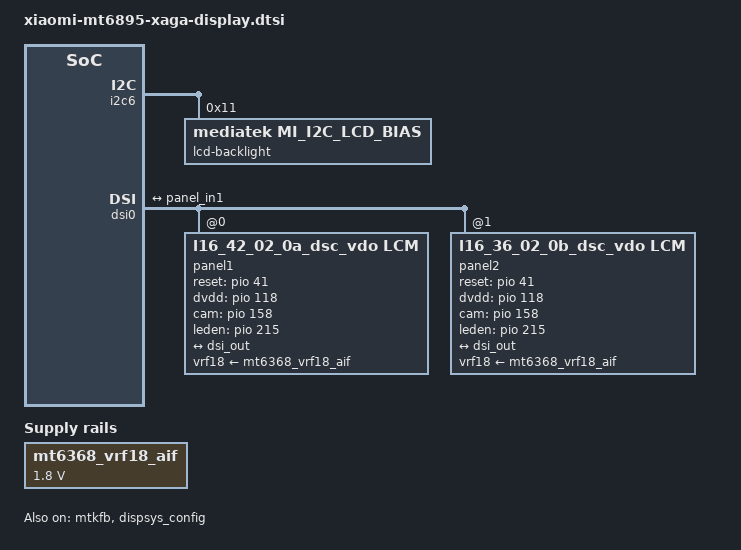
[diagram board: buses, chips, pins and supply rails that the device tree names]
&mtk_leds {
	compatible = "mediatek,disp-leds";

	backlight {
		label = "lcd-backlight";
		led_mode = <4>;
		max-brightness = <4095>;
		max-hw-brightness = <4095>;
		default-state = "half";
	};
};

&i2c6 {
	gate_ic: gate_ic@11 {
		compatible = "mediatek,MI_I2C_LCD_BIAS";
		label = "lcd-backlight";
		pwm_config = <0 1 0 0 0>;
		reg = <0x11>;
		id = <6>;
		status = "okay";
	};
};

&mt6368_vrf18_aif {
	regulator-min-microvolt = <1800000>;
	regulator-max-microvolt = <1800000>;
};

&pio {
	mtkfb_pins_lcm_rst_out1_gpio: lcm_rst_out1_gpio {
		pins_cmd_dat {
			pinmux = <PINMUX_GPIO41__FUNC_GPIO41>;
			slew-rate = <1>;
			output-high;
		};
	};

	mtkfb_pins_lcm_rst_out0_gpio: lcm_rst_out0_gpio {
		pins_cmd_dat {
			pinmux = <PINMUX_GPIO41__FUNC_GPIO41>;
			slew-rate = <1>;
			output-low;
		};
	};
	mtkfb_pins_lcm_dsi_te: lcm_dsi_te {
		pins_cmd_dat {
			pinmux = <PINMUX_GPIO40__FUNC_DSI_TE>;
		};
	};

	mtkfb_pins_lcm_dvdd_en1: lcm_dvdd_en1_gpio {
		pins_cmd_dat {
			pinmux = <PINMUX_GPIO3__FUNC_GPIO3>;
			slew-rate = <1>;
			output-high;
		};
	};

	mtkfb_pins_lcm_dvdd_en0: lcm_dvdd_en0_gpio {
		pins_cmd_dat {
			pinmux = <PINMUX_GPIO3__FUNC_GPIO3>;
			slew-rate = <1>;
			output-low;
		};
	};

	mtkfb_pins_lcm_cam_en1: lcm_cam_en1_gpio {
		pins_cmd_dat {
			pinmux = <PINMUX_GPIO158__FUNC_GPIO158>;
			slew-rate = <1>;
			output-high;
		};
	};

	mtkfb_pins_lcm_cam_en0: lcm_cam_en0_gpio {
		pins_cmd_dat {
			pinmux = <PINMUX_GPIO158__FUNC_GPIO158>;
			slew-rate = <1>;
			output-low;
		};
	};
};

&mtkfb {
	pinctrl-names = "lcm_rst_out1_gpio", "lcm_rst_out0_gpio",
		"mode_te_te", "lcm_dvdd_en1_gpio",
		"lcm_dvdd_en0_gpio","lcm_cam_en1_gpio",
		"lcm_cam_en0_gpio";
	pinctrl-0 = <&mtkfb_pins_lcm_rst_out1_gpio>;
	pinctrl-1 = <&mtkfb_pins_lcm_rst_out0_gpio>;
	pinctrl-2 = <&mtkfb_pins_lcm_dsi_te>;
	pinctrl-3 = <&mtkfb_pins_lcm_dvdd_en1>;
	pinctrl-4 = <&mtkfb_pins_lcm_dvdd_en0>;
	pinctrl-5 = <&mtkfb_pins_lcm_cam_en1>;
	pinctrl-6 = <&mtkfb_pins_lcm_cam_en0>;
	status = "okay";
};
&dispsys_config {
	pinctrl-names =
		"lcm_rst_out1_gpio", "lcm_rst_out0_gpio",
		"mode_te_te", "lcm_dvdd_en1_gpio",
		"lcm_dvdd_en0_gpio";
	pinctrl-0 = <&mtkfb_pins_lcm_rst_out1_gpio>;
	pinctrl-1 = <&mtkfb_pins_lcm_rst_out0_gpio>;
	pinctrl-2 = <&mtkfb_pins_lcm_dsi_te>;
	pinctrl-3 = <&mtkfb_pins_lcm_dvdd_en1>;
	pinctrl-4 = <&mtkfb_pins_lcm_dvdd_en0>;
	pinctrl-5 = <&mtkfb_pins_lcm_cam_en1>;
	pinctrl-6 = <&mtkfb_pins_lcm_cam_en0>;
	status = "okay";
};

&dsi0 {
	status = "okay";
	#address-cells = <1>;
	#size-cells = <0>;
	panel1@0 {
		compatible = "l16_42_02_0a_dsc_vdo,lcm";
		reg = <0>;
		reset-gpios = <&pio 41 0>;
		dvdd-gpios = <&pio 118 0>;
		cam-gpios = <&pio 158 0>;
		leden-gpios = <&pio 215 0>;
		vrf18-supply = <&mt6368_vrf18_aif>;
		pinctrl-names = "default";
		port {
			panel_in1: endpoint {
				remote-endpoint = <&dsi_out>;
			};
		};
	};
	panel2@0 {
		compatible = "l16_36_02_0b_dsc_vdo,lcm";
		reg = <1>;
		reset-gpios = <&pio 41 0>;
		dvdd-gpios = <&pio 118 0>;
		cam-gpios = <&pio 158 0>;
		leden-gpios = <&pio 215 0>;
		vrf18-supply = <&mt6368_vrf18_aif>;
		pinctrl-names = "default";
		port {
			panel_in2: endpoint {
				remote-endpoint = <&dsi_out>;
			};
		};
	};
	ports {
		port {
			dsi_out: endpoint {
				remote-endpoint = <&panel_in1>;
			};
		};
	};
};

&disp_aal0 {
	mtk_dre30_support = <1>;
};

&disp_aal1 {
	mtk_dre30_support = <1>;
};

